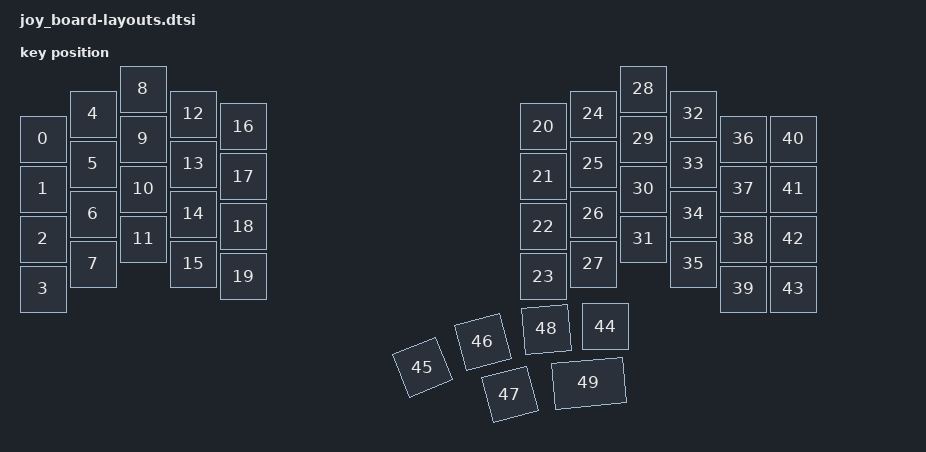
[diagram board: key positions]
#include <physical_layouts.dtsi>

/ {
    physical_layout0: physical_layout_0 {
        compatible = "zmk,physical-layout";
        display-name = "Default Layout";
                keys  //               w    h     x     y    rot   rx   ry
            // Left half - column 0 (pinky outer)
            = <&key_physical_attrs  100  100     0   175      0    0    0>  //  8
            , <&key_physical_attrs  100  100     0   275      0    0    0>  // 19
            , <&key_physical_attrs  100  100     0   375      0    0    0>  // 30
            , <&key_physical_attrs  100  100     0   475      0    0    0>  // 41
            // Left half - column 1
            , <&key_physical_attrs  100  100   100   125      0    0    0>  //  2
            , <&key_physical_attrs  100  100   100   225      0    0    0>  // 13
            , <&key_physical_attrs  100  100   100   325      0    0    0>  // 24
            , <&key_physical_attrs  100  100   100   425      0    0    0>  // 35
            // Left half - column 2 (top row stagger)
            , <&key_physical_attrs  100  100   200    75      0    0    0>  //  0
            , <&key_physical_attrs  100  100   200   175      0    0    0>  //  9
            , <&key_physical_attrs  100  100   200   275      0    0    0>  // 20
            , <&key_physical_attrs  100  100   200   375      0    0    0>  // 31
            // Left half - column 3
            , <&key_physical_attrs  100  100   300   125      0    0    0>  //  3
            , <&key_physical_attrs  100  100   300   225      0    0    0>  // 14
            , <&key_physical_attrs  100  100   300   325      0    0    0>  // 25
            , <&key_physical_attrs  100  100   300   425      0    0    0>  // 36
            // Left half - column 4 (index)
            , <&key_physical_attrs  100  100   400   150      0    0    0>  //  6
            , <&key_physical_attrs  100  100   400   250      0    0    0>  // 17
            , <&key_physical_attrs  100  100   400   350      0    0    0>  // 28
            , <&key_physical_attrs  100  100   400   450      0    0    0>  // 39
            // Right half - column 4 (index)
            , <&key_physical_attrs  100  100  1000   150      0    0    0>  //  7
            , <&key_physical_attrs  100  100  1000   250      0    0    0>  // 18
            , <&key_physical_attrs  100  100  1000   350      0    0    0>  // 29
            , <&key_physical_attrs  100  100  1000   450      0    0    0>  // 40
            // Right half - column 5
            , <&key_physical_attrs  100  100  1100   125      0    0    0>  //  4
            , <&key_physical_attrs  100  100  1100   225      0    0    0>  // 15
            , <&key_physical_attrs  100  100  1100   325      0    0    0>  // 26
            , <&key_physical_attrs  100  100  1100   425      0    0    0>  // 37
            // Right half - column 6
            , <&key_physical_attrs  100  100  1200    75      0    0    0>  //  1
            , <&key_physical_attrs  100  100  1200   175      0    0    0>  // 10
            , <&key_physical_attrs  100  100  1200   275      0    0    0>  // 21
            , <&key_physical_attrs  100  100  1200   375      0    0    0>  // 32
            // Right half - column 7
            , <&key_physical_attrs  100  100  1300   125      0    0    0>  //  5
            , <&key_physical_attrs  100  100  1300   225      0    0    0>  // 16
            , <&key_physical_attrs  100  100  1300   325      0    0    0>  // 27
            , <&key_physical_attrs  100  100  1300   425      0    0    0>  // 38
            // Right half - column 8 (pinky outer)
            , <&key_physical_attrs  100  100  1400   175      0    0    0>  // 11
            , <&key_physical_attrs  100  100  1400   275      0    0    0>  // 22
            , <&key_physical_attrs  100  100  1400   375      0    0    0>  // 33
            , <&key_physical_attrs  100  100  1400   475      0    0    0>  // 42
            // Right half - column 9 (extra outer)
            , <&key_physical_attrs  100  100  1500   175      0    0    0>  // 12
            , <&key_physical_attrs  100  100  1500   275      0    0    0>  // 23
            , <&key_physical_attrs  100  100  1500   375      0    0    0>  // 34
            , <&key_physical_attrs  100  100  1500   475      0    0    0>  // 43
            // Right - extra key (key 44)
            , <&key_physical_attrs  100  100  1125   550      0    0    0>  // 44
            // Right thumb cluster (all on right side)
            , <&key_physical_attrs  100  100   445   885  (-2200)  0    0>  // 45
            , <&key_physical_attrs  100  100   685   800  (-1500)  0    0>  // 46
            , <&key_physical_attrs  100  100   710   915  (-1500)  0    0>  // 47
            , <&key_physical_attrs  100  100   950   645   (-500)  0    0>  // 48
            , <&key_physical_attrs  150  100  1000   760   (-500)  0    0>  // 49
            ;
    };
};
